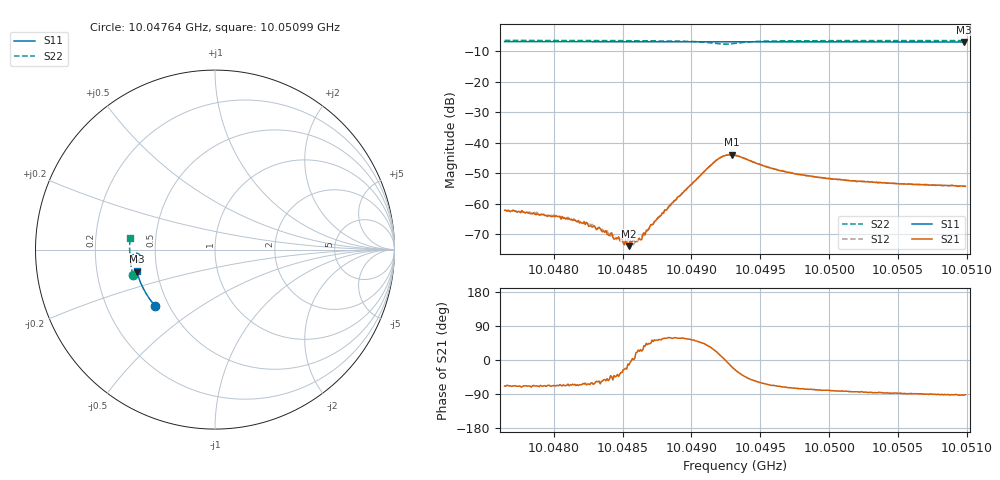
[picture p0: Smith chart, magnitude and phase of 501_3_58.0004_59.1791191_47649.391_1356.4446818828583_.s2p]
#  HZ  S  RI  R  50.00
! Rohde & Schwarz Vector Network Analyzer
! Rohde-Schwarz,ZNB20-2Port,1311601062101988,3.16
! Created: UTC 3/21/2024, 1:12:48 AM
! freq[Hz]  re:S11  im:S11  re:S21  im:S21  re:S12  im:S12  re:S22  im:S22
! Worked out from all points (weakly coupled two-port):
!   401 points, 10.04764 GHz to 10.05099 GHz, reference 50 ohm
!   highest |S21| = -43.84 dB at 10.04929 GHz (marker M1); lowest = -73.9 dB at 10.04855 GHz (marker M2)
!   lowest |S11| = -6.9 dB at 10.05098 GHz (marker M3), VSWR 2.65, Z = 19.2 - j5.9 ohm
!   |S11| at or under -10 dB: nowhere
!   |S22| runs from -7.6 to -6.4 dB; largest |S21 - S12| = 0.00048
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1.0047643e10  -0.3333 -0.3138  0.000287 -0.000732  0.000341 -0.000713  -0.4573 -0.1413
1.0047861e10  -0.3429 -0.3029  0.000251 -0.00063  0.000307 -0.000655  -0.4609 -0.1267
1.0048028e10  -0.3497 -0.2943  0.00024 -0.000572  0.000272 -0.000574  -0.4637 -0.1151
1.0048203e10  -0.3567 -0.2852  0.000204 -0.000442  0.000231 -0.000422  -0.466 -0.1028
1.0048371e10  -0.3634 -0.2762  0.000213 -0.000269  0.000202 -0.000276  -0.4678 -0.0905
1.0048505e10  -0.3684 -0.269  0.000206 -9.78e-05  0.000216 -0.000125  -0.4688 -0.0801
1.004853e10  -0.3693 -0.268  0.000196 -8.8e-05  0.00022 -5.27e-05  -0.469 -0.0783
1.0048546e10  -0.37 -0.2668  0.000198 -4.57e-05  0.000242 -1.69e-05  -0.469 -0.0768
1.0048571e10  -0.3708 -0.2655  0.00025 1.74e-05  0.000221 3.73e-05  -0.4691 -0.0747
1.0048597e10  -0.3718 -0.2641  0.000229 7.93e-05  0.000228 7.82e-05  -0.4691 -0.0727
1.0048622e10  -0.3728 -0.2626  0.000247 0.000105  0.000238 0.00014  -0.4693 -0.0706
1.0048647e10  -0.3737 -0.2614  0.000284 0.000146  0.000266 0.000162  -0.4692 -0.0684
1.0048764e10  -0.3779 -0.2548  0.000358 0.000493  0.000356 0.000511  -0.4687 -0.0579
1.0049165e10  -0.391 -0.232  0.00433 0.00217  0.00421 0.00243  -0.4302 -0.0214
1.0049232e10  -0.3928 -0.2283  0.00608 0.000458  0.00607 0.00082  -0.4161 -0.0359
1.0049291e10  -0.3946 -0.2251  0.00613 -0.00191  0.00625 -0.00149  -0.4192 -0.0548
1.0049316e10  -0.3954 -0.2237  0.00563 -0.00271  0.00587 -0.00235  -0.4246 -0.0603
1.0049625e10  -0.4048 -0.2058  0.00127 -0.00335  0.00154 -0.00329  -0.4686 -0.0406
1.0049876e10  -0.4118 -0.1907  0.000588 -0.00274  0.000762 -0.00274  -0.4742 -0.017
1.0050437e10  -0.4251 -0.1565  9.25e-05 -0.0022  0.000249 -0.00218  -0.4754 0.0255
1.005098e10  -0.4352 -0.1225  -7.08e-05 -0.00196  2.75e-05 -0.00194  -0.472 0.063
1.0050989e10  -0.4354 -0.1219  -5.94e-05 -0.00194  2.1e-05 -0.00196  -0.4719 0.0636
